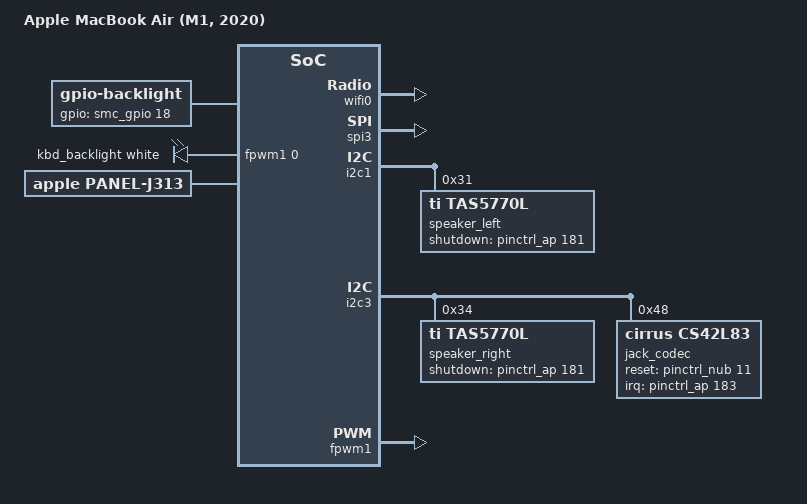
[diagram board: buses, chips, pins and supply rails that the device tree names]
// SPDX-License-Identifier: GPL-2.0+ OR MIT
/*
 * Apple MacBook Air (M1, 2020)
 *
 * target-type: J313
 *
 * Copyright The Asahi Linux Contributors
 */

/dts-v1/;

#include "t8103.dtsi"
#include "t8103-jxxx.dtsi"
#include <dt-bindings/leds/common.h>

/ {
	compatible = "apple,j313", "apple,t8103", "apple,arm-platform";
	model = "Apple MacBook Air (M1, 2020)";
};

&dcp {
	panel: panel {
		compatible = "apple,panel-j313", "apple,panel";
		width-mm = <286>;
		height-mm = <179>;
		apple,max-brightness = <420>;
	};
};

&bluetooth0 {
	brcm,board-type = "apple,shikoku";
};

&wifi0 {
	brcm,board-type = "apple,shikoku";
};

/*
 * Provide labels for the USB type C ports.
 */

&typec0 {
	label = "USB-C Left-back";
};

&typec1 {
	label = "USB-C Left-front";
};

&spi3 {
	status = "okay";

	hid-transport@0 {
		compatible = "apple,spi-hid-transport";
		reg = <0>;
		spi-max-frequency = <8000000>;
		/*
		 * Apple's ADT specifies 20us CS change delays, and the
		 * SPI HID interface metadata specifies 45us. Using either
		 * seems not to be reliable, but adding both works, so
		 * best guess is they are cumulative.
		 */
		spi-cs-setup-delay-ns = <65000>;
		spi-cs-hold-delay-ns = <65000>;
		spi-cs-inactive-delay-ns = <250000>;
		spien-gpios = <&pinctrl_ap 195 0>;
		interrupts-extended = <&pinctrl_nub 13 IRQ_TYPE_LEVEL_LOW>;
	};
};

/*
 * Remove unused PCIe ports and disable the associated DARTs.
 */

&pcie0_dart_1 {
	status = "disabled";
};

&pcie0_dart_2 {
	status = "disabled";
};

/delete-node/ &port01;
/delete-node/ &port02;

&i2c1 {
	speaker_left: codec@31 {
		compatible = "ti,tas5770l", "ti,tas2770";
		reg = <0x31>;
		shutdown-gpios = <&pinctrl_ap 181 GPIO_ACTIVE_HIGH>;
		#sound-dai-cells = <0>;
		sound-name-prefix = "Left";
	};
};

&i2c3 {
	speaker_right: codec@34 {
		compatible = "ti,tas5770l", "ti,tas2770";
		reg = <0x34>;
		shutdown-gpios = <&pinctrl_ap 181 GPIO_ACTIVE_HIGH>;
		#sound-dai-cells = <0>;
		sound-name-prefix = "Right";
	};

	jack_codec: codec@48 {
		compatible = "cirrus,cs42l83";
		reg = <0x48>;
		reset-gpios = <&pinctrl_nub 11 GPIO_ACTIVE_HIGH>;
		interrupt-parent = <&pinctrl_ap>;
		interrupts = <183 IRQ_TYPE_LEVEL_LOW>;
		#sound-dai-cells = <0>;
		cirrus,ts-inv = <1>;
		sound-name-prefix = "Jack";
	};
};

/ {
	backlight: gpio-bl {
		compatible = "gpio-backlight";
		gpios = <&smc_gpio 18 GPIO_ACTIVE_HIGH>;
		default-on;
	};

	sound {
		compatible = "apple,j313-macaudio", "apple,macaudio";
		model = "MacBook Air J313";

		dai-link@0 {
			link-name = "Speakers";
			/*
			 * DANGER ZONE: You can blow your speakers!
			 *
			 * The drivers are not ready, and unless you are careful
			 * to attenuate the audio stream, you run the risk of
			 * blowing your speakers.
			 */
			status = "disabled";

			cpu {
				sound-dai = <&mca 0>, <&mca 1>;
			};
			codec {
				sound-dai = <&speaker_left>, <&speaker_right>;
			};
		};

		dai-link@1 {
			link-name = "Headphone Jack";

			cpu {
				sound-dai = <&mca 2>;
			};
			codec {
				sound-dai = <&jack_codec>;
			};
		};
	};
	led-controller {
		compatible = "pwm-leds";
		led-0 {
			pwms = <&fpwm1 0 40000>;
			pwm-names = "kbd-backlight";
			label = "kbd_backlight";
			function = LED_FUNCTION_KBD_BACKLIGHT;
			color = <LED_COLOR_ID_WHITE>;
			max-brightness = <255>;
			default-state = "keep";
		};
	};

		hwmon-sensors {
			pwr_keys {
                pwr_key0 {
                    key = "PBLR";
                };
                pwr_key1 {
                    key = "PDTR";
                };
                pwr_key2 {
                    key = "PGDP";
                };
                pwr_key3 {
                    key = "PHPB";
                };
                pwr_key4 {
                    key = "PHPC";
                };
                pwr_key5 {
                    key = "PHPM";
                };
                pwr_key6 {
                    key = "PHPS";
                };
                pwr_key7 {
                    key = "PKBC";
                };
                pwr_key8 {
                    key = "PMVC";
                };
                pwr_key9 {
                    key = "PO3R";
                };
                pwr_key10 {
                    key = "PO5R";
                };
                pwr_key11 {
                    key = "PP0b";
                };
                pwr_key12 {
                    key = "PP0l";
                };
                pwr_key13 {
                    key = "PP1b";
                };
                pwr_key14 {
                    key = "PP2b";
                };
                pwr_key15 {
                    key = "PP3b";
                };
                pwr_key16 {
                    key = "PP3l";
                };
                pwr_key17 {
                    key = "PP7b";
                };
                pwr_key18 {
                    key = "PP7l";
                };
                pwr_key19 {
                    key = "PP8b";
                };
                pwr_key20 {
                    key = "PP9b";
                };
                pwr_key21 {
                    key = "PP9l";
                };
                pwr_key22 {
                    key = "PPBR";
                };
                pwr_key23 {
                    key = "PPbb";
                };
                pwr_key24 {
                    key = "PPeb";
                };
                pwr_key25 {
                    key = "PR4b";
                };
                pwr_key26 {
                    key = "PR4l";
                };
                pwr_key27 {
                    key = "PR5b";
                };
                pwr_key28 {
                    key = "PR6b";
                };
                pwr_key29 {
                    key = "PR8l";
                };
                pwr_key30 {
                    key = "PRab";
                };
                pwr_key31 {
                    key = "PRbl";
                };
                pwr_key32 {
                    key = "PRcb";
                };
                pwr_key33 {
                    key = "PRcl";
                };
                pwr_key34 {
                    key = "PRdb";
                };
                pwr_key35 {
                    key = "PRkl";
                };
                pwr_key36 {
                    key = "PSTR";
                };
                pwr_key37 {
                    key = "PW3C";
                };
                pwr_key38 {
                    key = "PZl0";
                };
                pwr_key39 {
                    key = "PZlF";
                };
                pwr_key40 {
                    key = "Pb0f";
                };
			};
			temp_keys {
                temp_key0 {
                    key = "TB0T";
                };
                temp_key1 {
                    key = "TB1T";
                };
                temp_key2 {
                    key = "TB2T";
                };
                temp_key3 {
                    key = "TCHP";
                };
                temp_key4 {
                    key = "TCMb";
                };
                temp_key5 {
                    key = "TCMz";
                };
                temp_key6 {
                    key = "TG0B";
                };
                temp_key7 {
                    key = "TG0C";
                };
                temp_key8 {
                    key = "TG0H";
                };
                temp_key9 {
                    key = "TG0V";
                };
                temp_key10 {
                    key = "TG1B";
                };
                temp_key11 {
                    key = "TG2B";
                };
                temp_key12 {
                    key = "TH0T";
                };
                temp_key13 {
                    key = "TH0x";
                };
                temp_key14 {
                    key = "TIOP";
                };
                temp_key15 {
                    key = "TMVR";
                };
                temp_key16 {
                    key = "TPMP";
                };
                temp_key17 {
                    key = "TPSP";
                };
                temp_key18 {
                    key = "TR0Z";
                };
                temp_key19 {
                    key = "TR1d";
                };
                temp_key20 {
                    key = "TR2d";
                };
                temp_key21 {
                    key = "TR3d";
                };
                temp_key22 {
                    key = "TR4d";
                };
                temp_key23 {
                    key = "TR5d";
                };
                temp_key24 {
                    key = "TSCD";
                };
                temp_key25 {
                    key = "TVA0";
                };
                temp_key26 {
                    key = "TVD0";
                };
                temp_key27 {
                    key = "TVS0";
                };
                temp_key28 {
                    key = "TVS1";
                };
                temp_key29 {
                    key = "TVSx";
                };
                temp_key30 {
                    key = "TW0P";
                };
                temp_key31 {
                    key = "Ta1a";
                };
                temp_key32 {
                    key = "Ta1b";
                };
                temp_key33 {
                    key = "Ta1x";
                };
                temp_key34 {
                    key = "Ta1z";
                };
                temp_key35 {
                    key = "Tarc";
                };
                temp_key36 {
                    key = "Tc0a";
                };
                temp_key37 {
                    key = "Tc0b";
                };
                temp_key38 {
                    key = "Tc0x";
                };
                temp_key39 {
                    key = "Tc0z";
                };
                temp_key40 {
                    key = "Tc1a";
                };
                temp_key41 {
                    key = "Tc1b";
                };
                temp_key42 {
                    key = "Tc1x";
                };
                temp_key43 {
                    key = "Tc1z";
                };
                temp_key44 {
                    key = "Tc2a";
                };
                temp_key45 {
                    key = "Tc2b";
                };
                temp_key46 {
                    key = "Tc2x";
                };
                temp_key47 {
                    key = "Tc2z";
                };
                temp_key48 {
                    key = "Tc3a";
                };
                temp_key49 {
                    key = "Tc3b";
                };
                temp_key50 {
                    key = "Tc3x";
                };
                temp_key51 {
                    key = "Tc3z";
                };
                temp_key52 {
                    key = "Tc4a";
                };
                temp_key53 {
                    key = "Tc4b";
                };
                temp_key54 {
                    key = "Tc4x";
                };
                temp_key55 {
                    key = "Tc4z";
                };
                temp_key56 {
                    key = "Tc5a";
                };
                temp_key57 {
                    key = "Tc5b";
                };
                temp_key58 {
                    key = "Tc5x";
                };
                temp_key59 {
                    key = "Tc5z";
                };
                temp_key60 {
                    key = "Tc6a";
                };
                temp_key61 {
                    key = "Tc6b";
                };
                temp_key62 {
                    key = "Tc6x";
                };
                temp_key63 {
                    key = "Tc6z";
                };
                temp_key64 {
                    key = "Tc7a";
                };
                temp_key65 {
                    key = "Tc7b";
                };
                temp_key66 {
                    key = "Tc7x";
                };
                temp_key67 {
                    key = "Tc7z";
                };
                temp_key68 {
                    key = "Tc8a";
                };
                temp_key69 {
                    key = "Tc8b";
                };
                temp_key70 {
                    key = "Tc8x";
                };
                temp_key71 {
                    key = "Tc8z";
                };
                temp_key72 {
                    key = "Tc9a";
                };
                temp_key73 {
                    key = "Tc9b";
                };
                temp_key74 {
                    key = "Tc9x";
                };
                temp_key75 {
                    key = "Tc9z";
                };
                temp_key76 {
                    key = "Tcaa";
                };
                temp_key77 {
                    key = "Tcab";
                };
                temp_key78 {
                    key = "Tcax";
                };
                temp_key79 {
                    key = "Tcaz";
                };
                temp_key80 {
                    key = "Te0a";
                };
                temp_key81 {
                    key = "Te0b";
                };
                temp_key82 {
                    key = "Te0x";
                };
                temp_key83 {
                    key = "Te0z";
                };
                temp_key84 {
                    key = "Te3a";
                };
                temp_key85 {
                    key = "Te3b";
                };
                temp_key86 {
                    key = "Te3x";
                };
                temp_key87 {
                    key = "Te3z";
                };
                temp_key88 {
                    key = "Tg1b";
                };
                temp_key89 {
                    key = "Tg4b";
                };
                temp_key90 {
                    key = "Th0a";
                };
                temp_key91 {
                    key = "Th0b";
                };
                temp_key92 {
                    key = "Th0x";
                };
                temp_key93 {
                    key = "Th0z";
                };
                temp_key94 {
                    key = "Th1a";
                };
                temp_key95 {
                    key = "Th1b";
                };
                temp_key96 {
                    key = "Th1x";
                };
                temp_key97 {
                    key = "Th1z";
                };
                temp_key98 {
                    key = "Th2a";
                };
                temp_key99 {
                    key = "Th2b";
                };
                temp_key100 {
                    key = "Th2x";
                };
                temp_key101 {
                    key = "Th2z";
                };
                temp_key102 {
                    key = "Tp2a";
                };
                temp_key103 {
                    key = "Tp2b";
                };
                temp_key104 {
                    key = "Tp2x";
                };
                temp_key105 {
                    key = "Tp2z";
                };
                temp_key106 {
                    key = "Tp3a";
                };
                temp_key107 {
                    key = "Tp3b";
                };
                temp_key108 {
                    key = "Tp3x";
                };
                temp_key109 {
                    key = "Tp3z";
                };
                temp_key110 {
                    key = "Tp4a";
                };
                temp_key111 {
                    key = "Tp4b";
                };
                temp_key112 {
                    key = "Tp4x";
                };
                temp_key113 {
                    key = "Tp4z";
                };
                temp_key114 {
                    key = "Tp5a";
                };
                temp_key115 {
                    key = "Tp5b";
                };
                temp_key116 {
                    key = "Tp5x";
                };
                temp_key117 {
                    key = "Tp5z";
                };
                temp_key118 {
                    key = "Tp7a";
                };
                temp_key119 {
                    key = "Tp7b";
                };
                temp_key120 {
                    key = "Tp7x";
                };
                temp_key121 {
                    key = "Tp7z";
                };
                temp_key122 {
                    key = "Tp8a";
                };
                temp_key123 {
                    key = "Tp8b";
                };
                temp_key124 {
                    key = "Tp8x";
                };
                temp_key125 {
                    key = "Tp8z";
                };
                temp_key126 {
                    key = "Tp9a";
                };
                temp_key127 {
                    key = "Tp9b";
                };
                temp_key128 {
                    key = "Tp9x";
                };
                temp_key129 {
                    key = "Tp9z";
                };
                temp_key130 {
                    key = "Ts0a";
                };
                temp_key131 {
                    key = "Ts0b";
                };
                temp_key132 {
                    key = "Ts0x";
                };
                temp_key133 {
                    key = "Ts0z";
                };
                temp_key134 {
                    key = "Ts1a";
                };
                temp_key135 {
                    key = "Ts1b";
                };
                temp_key136 {
                    key = "Ts1x";
                };
                temp_key137 {
                    key = "Ts1z";
                };
                temp_key138 {
                    key = "Ts2a";
                };
                temp_key139 {
                    key = "Ts2b";
                };
                temp_key140 {
                    key = "Ts2x";
                };
                temp_key141 {
                    key = "Ts2z";
                };
                temp_key142 {
                    key = "Ts5a";
                };
                temp_key143 {
                    key = "Ts5b";
                };
                temp_key144 {
                    key = "Ts5x";
                };
                temp_key145 {
                    key = "Ts5z";
                };
			};
			current_keys {
                current_key0 {
                    key = "IBLR";
                };
                current_key1 {
                    key = "ID0R";
                };
                current_key2 {
                    key = "IKBC";
                };
                current_key3 {
                    key = "IMVC";
                };
                current_key4 {
                    key = "IO3R";
                };
                current_key5 {
                    key = "IO5R";
                };
                current_key6 {
                    key = "IP0b";
                };
                current_key7 {
                    key = "IP0l";
                };
                current_key8 {
                    key = "IP1b";
                };
                current_key9 {
                    key = "IP2b";
                };
                current_key10 {
                    key = "IP3b";
                };
                current_key11 {
                    key = "IP3l";
                };
                current_key12 {
                    key = "IP7b";
                };
                current_key13 {
                    key = "IP7l";
                };
                current_key14 {
                    key = "IP8b";
                };
                current_key15 {
                    key = "IP9b";
                };
                current_key16 {
                    key = "IP9l";
                };
                current_key17 {
                    key = "IPBR";
                };
                current_key18 {
                    key = "IPbb";
                };
                current_key19 {
                    key = "IPeb";
                };
                current_key20 {
                    key = "IR4b";
                };
                current_key21 {
                    key = "IR4l";
                };
                current_key22 {
                    key = "IR5b";
                };
                current_key23 {
                    key = "IR6b";
                };
                current_key24 {
                    key = "IR8l";
                };
                current_key25 {
                    key = "IRab";
                };
                current_key26 {
                    key = "IRbl";
                };
                current_key27 {
                    key = "IRcb";
                };
                current_key28 {
                    key = "IRcl";
                };
                current_key29 {
                    key = "IRdb";
                };
                current_key30 {
                    key = "IRkl";
                };
                current_key31 {
                    key = "IW3C";
                };
                current_key32 {
                    key = "Ib0f";
                };
                current_key33 {
                    key = "Ib4f";
                };
                current_key34 {
                    key = "Ib8f";
                };
			};
			voltage_keys {
                voltage_key0 {
                    key = "VBUS";
                };
                voltage_key1 {
                    key = "VD0R";
                };
                voltage_key2 {
                    key = "VP0R";
                };
                voltage_key3 {
                    key = "VP0b";
                };
                voltage_key4 {
                    key = "VP0l";
                };
                voltage_key5 {
                    key = "VP1b";
                };
                voltage_key6 {
                    key = "VP2b";
                };
                voltage_key7 {
                    key = "VP3b";
                };
                voltage_key8 {
                    key = "VP3l";
                };
                voltage_key9 {
                    key = "VP7b";
                };
                voltage_key10 {
                    key = "VP7l";
                };
                voltage_key11 {
                    key = "VP8b";
                };
                voltage_key12 {
                    key = "VP9b";
                };
                voltage_key13 {
                    key = "VP9l";
                };
                voltage_key14 {
                    key = "VPbb";
                };
                voltage_key15 {
                    key = "VPeb";
                };
                voltage_key16 {
                    key = "VR4b";
                };
                voltage_key17 {
                    key = "VR4l";
                };
                voltage_key18 {
                    key = "VR5b";
                };
                voltage_key19 {
                    key = "VR6b";
                };
                voltage_key20 {
                    key = "VR8l";
                };
                voltage_key21 {
                    key = "VRab";
                };
                voltage_key22 {
                    key = "VRbl";
                };
                voltage_key23 {
                    key = "VRcb";
                };
                voltage_key24 {
                    key = "VRcl";
                };
                voltage_key25 {
                    key = "VRdb";
                };
                voltage_key26 {
                    key = "VRkl";
                };
                voltage_key27 {
                    key = "Vb0f";
                };
                voltage_key28 {
                    key = "Vb1f";
                };
    		};
    	};
};

&framebuffer0 {
	backlight = <&backlight>;
};

&fpwm1 {
	status = "okay";
};
